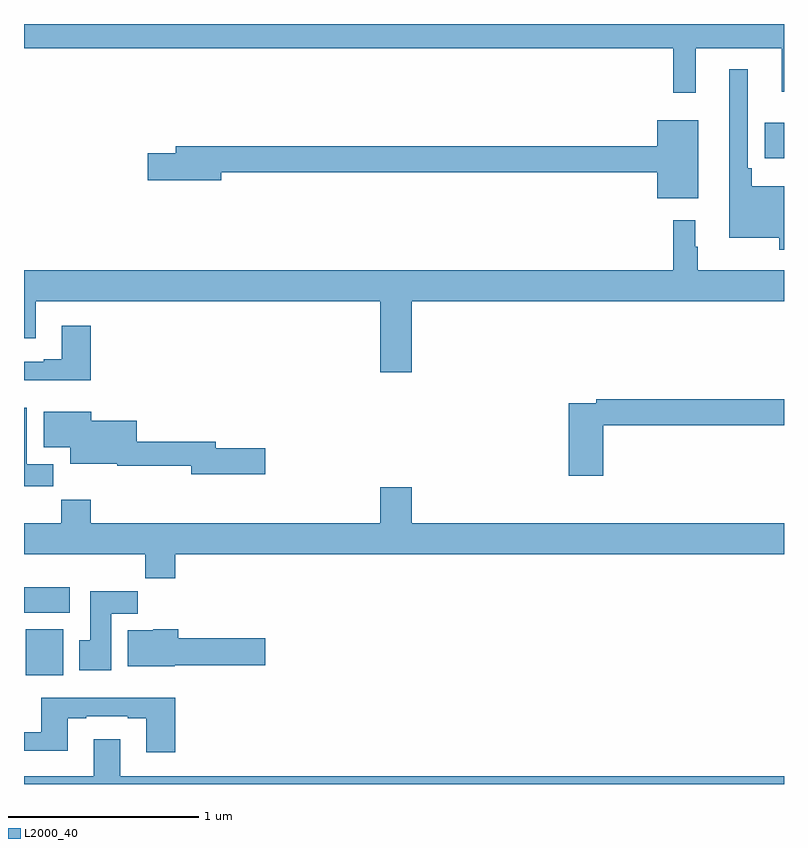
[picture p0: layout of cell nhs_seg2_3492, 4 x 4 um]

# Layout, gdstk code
import gdstk
lib = gdstk.Library(unit=1e-6, precision=1e-09)
def R(c, l, rs):  # rectangles x0, y0, x1, y1
    for r in rs: c.add(gdstk.rectangle(r[:2], r[2:], *l))
def P(c, l, *ps):  # polygons
    for p in ps: c.add(gdstk.Polygon(p, *l))
L2000_40 = (2000, 40)

nhs_seg2_3492 = lib.new_cell('nhs_seg2_3492')
R(nhs_seg2_3492, L2000_40, [(295.01,608.372,295.207,608.614), (295,608.702,295.24,608.836), (298.898,611.093,299,611.281)])
P(nhs_seg2_3492, L2000_40, [(298.535,611.672),(298.988,611.672),(298.988,611.444),(299,611.444),(299,611.8),(295,611.8),(295,611.672),(298.417,611.672),(298.417,611.439),(298.535,611.439)],
  [(299,610.945),(298.829,610.945),(298.829,611.041),(298.809,611.041),(298.809,611.563),(298.712,611.563),(298.712,610.676),(298.974,610.676),(298.974,610.611),(299,610.611)],
  [(298.549,611.293),(298.334,611.293),(298.334,611.156),(295.799,611.156),(295.799,611.12),(295.65,611.12),(295.65,610.978),(296.038,610.978),(296.038,611.02),(298.334,611.02),(298.334,610.883),(298.549,610.883)],
  [(297.04,610.34),(299,610.34),(299,610.504),(298.546,610.504),(298.546,610.628),(298.534,610.628),(298.534,610.768),(298.417,610.768),(298.417,610.504),(295,610.504),(295,610.146),(295.063,610.146),(295.063,610.34),(296.876,610.34),(296.876,609.966),(297.04,609.966)],
  [(295.352,610.213),(295.199,610.213),(295.199,610.036),(295.103,610.036),(295.103,610.023),(295,610.023),(295,609.926),(295.352,609.926)],
  [(298.049,609.688),(299,609.688),(299,609.824),(298.012,609.824),(298.012,609.804),(297.866,609.804),(297.866,609.423),(298.049,609.423)],
  [(295.154,609.484),(295.015,609.484),(295.015,609.781),(295,609.781),(295,609.366),(295.154,609.366)],
  [(296.269,609.566),(296.008,609.566),(296.008,609.602),(295.594,609.602),(295.594,609.712),(295.354,609.712),(295.354,609.76),(295.103,609.76),(295.103,609.572),(295.244,609.572),(295.244,609.485),(295.49,609.485),(295.49,609.474),(295.88,609.474),(295.88,609.431),(296.269,609.431)],
  [(295.796,609.008),(299,609.008),(299,609.172),(297.04,609.172),(297.04,609.361),(296.876,609.361),(296.876,609.172),(295.352,609.172),(295.352,609.296),(295.195,609.296),(295.195,609.172),(295,609.172),(295,609.008),(295.639,609.008),(295.639,608.884),(295.796,608.884)],
  [(295.459,608.696),(295.598,608.696),(295.598,608.815),(295.349,608.815),(295.349,608.556),(295.292,608.556),(295.292,608.4),(295.459,608.4)],
  [(295.794,608.426),(296.269,608.426),(296.269,608.568),(295.811,608.568),(295.811,608.614),(295.68,608.614),(295.68,608.608),(295.547,608.608),(295.547,608.42),(295.794,608.42)],
  [(295.796,608.254),(295.091,608.254),(295.091,608.073),(295,608.073),(295,607.976),(295.231,607.976),(295.231,608.145),(295.327,608.145),(295.327,608.157),(295.547,608.157),(295.547,608.145),(295.643,608.145),(295.643,607.968),(295.796,607.968)],
  [(299,607.84),(295.507,607.84),(295.507,608.035),(295.367,608.035),(295.367,607.84),(295,607.84),(295,607.8),(299,607.8)])

lib.write_gds('nhs_seg2_3492.gds')
